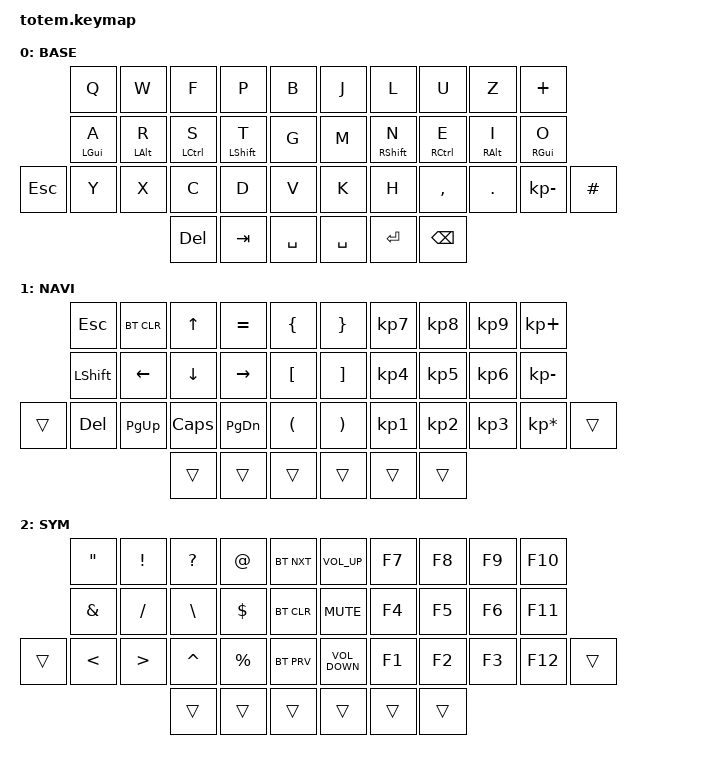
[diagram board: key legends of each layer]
//
//                                                        ▀▀▀▀▀     ▀▀▀▀▀          ▀▀█▀▀
//                                                        ▄▀▀▀▄  ▄  ▄▀▀▀▄  ▄  ▄▀▀▀▄  █  ▄▀▀▀▄
//                                                        █   █  █  █   █  █  █   █  █  █   █
//                                                         ▀▀▀   █   ▀▀▀   █   ▀▀▀   ▀   ▀▀▀
//                                                               █      ▄▄▄█▄▄▄    █   █  
//                                                               ▀      █  █  █     █▄█
//                                                             ▀▀▀▀▀    █  █  █      ▀
//                                                                      ▀  ▀  ▀
//
// ▄▄▄▄▄▄▄▄▄▄▄▄▄▄▄▄▄▄▄▄▄▄▄▄▄▄▄▄▄▄▄▄▄▄▄▄▄▄▄▄▄▄▄▄▄▄▄▄▄▄▄▄▄▄▄▄▄▄▄▄▄▄▄▄▄▄▄▄▄▄▄▄▄▄▄▄▄▄▄▄▄▄▄▄▄▄▄▄▄▄▄▄▄▄▄▄▄▄▄▄▄▄▄▄▄▄▄▄▄▄▄▄▄▄▄▄▄▄▄▄▄▄▄▄▄▄▄▄▄▄▄▄▄▄▄▄▄▄▄▄▄▄▄▄▄▄▄▄▄

#include <behaviors.dtsi>
#include <dt-bindings/zmk/bt.h>
#include <dt-bindings/zmk/keys.h>

#define BASE 0
#define NAV  1
#define SYM  2

&mt {
    quick-tap-ms = <150>;
    global-quick-tap;
    flavor = "tap-preferred";
    tapping-term-ms = <220>;
};

/ {
    combos {
        compatible = "zmk,combos";

        NAVLayer {
            bindings = <&lt 1 K_PASTE>;
            key-positions = <16 17 18>;
        };

        SYMLayer {
            bindings = <&lt 2 K_COPY>;
            key-positions = <13 12 11>;
        };

        BASELayer {
            bindings = <&lt 0 K_UNDO>;
            key-positions = <34 35>;
        };

        AltTab {
            bindings = <&kp LA(PAGE_UP)>;
            key-positions = <16 17>;
        };

        AltShiftTab {
            bindings = <&kp LS(LA(TAB))>;
            key-positions = <13 12>;
        };

        PageUp {
            bindings = <&kp PAGE_UP>;
            key-positions = <6 7>;
        };

        PageDown {
            bindings = <&kp PAGE_DOWN>;
            key-positions = <27 28>;
        };
    };

    keymap {
        compatible = "zmk,keymap";

        // ▄▄▄▄▄▄▄▄▄▄▄▄▄▄▄▄▄▄▄▄▄▄▄▄▄▄▄▄▄▄▄▄▄▄▄▄▄▄▄▄▄▄▄▄▄▄▄▄▄▄▄▄▄▄▄▄▄▄▄▄▄▄▄▄▄▄▄▄▄▄▄▄▄▄▄▄▄▄▄▄▄▄▄▄▄▄▄▄▄▄▄▄▄▄▄▄▄▄▄▄▄▄▄▄▄▄▄▄▄▄▄▄▄▄▄▄▄▄▄▄▄▄▄▄▄▄▄▄▄▄▄▄▄▄▄▄▄▄▄▄▄▄▄▄▄▄▄▄▄

        BASE {
            // ┏━━━━━━━━━━━━━━━━━━━━━━━━━━━━━━━━━━━━━━━┓

            label = "BASE";

            // ┗━━━━━━━━━━━━━━━━━━━━━━━━━━━━━━━━━━━━━━━┛
            //             ┏━━━━━━━━━━━┳━━━━━━━━━━━┳━━━━━━━━━━━┳━━━━━━━━━━━┳━━━━━━━━━━━┓   ┏━━━━━━━━━━━┳━━━━━━━━━━━┳━━━━━━━━━━━┳━━━━━━━━━━━┳━━━━━━━━━━━┓
            //             ┃     Q     ┃     W     ┃     E     ┃     R     ┃     T     ┃   ┃     Z     ┃     U     ┃     I     ┃     O     ┃     P     ┃
            //             ┣━━━━━━━━━━━╋━━━━━━━━━━━╋━━━━━━━━━━━╋━━━━━━━━━━━╋━━━━━━━━━━━┫   ┣━━━━━━━━━━━╋━━━━━━━━━━━╋━━━━━━━━━━━╋━━━━━━━━━━━╋━━━━━━━━━━━┫
            //             ┃     A     ┃     S     ┃     D     ┃     F     ┃     G     ┃   ┃     H     ┃     J     ┃     K     ┃     L     ┃     +     ┃
            // ┏━━━━━━━━━━━╋━━━━━━━━━━━╋━━━━━━━━━━━╋━━━━━━━━━━━╋━━━━━━━━━━━╋━━━━━━━━━━━┫   ┣━━━━━━━━━━━╋━━━━━━━━━━━╋━━━━━━━━━━━╋━━━━━━━━━━━╋━━━━━━━━━━━╋━━━━━━━━━━━┓
            // ┃    ESC    ┃     Y     ┃     X     ┃     C     ┃     V     ┃     B     ┃   ┃     N     ┃     M     ┃     ,     ┃     .     ┃     -     ┃     #     ┃
            // ┗━━━━━━━━━━━┻━━━━━━━━━━━┻━━━━━━━━━━━╋━━━━━━━━━━━╋━━━━━━━━━━━╋━━━━━━━━━━━┫   ┣━━━━━━━━━━━╋━━━━━━━━━━━╋━━━━━━━━━━━╋━━━━━━━━━━━┻━━━━━━━━━━━┻━━━━━━━━━━━┛
            //                                     ┃    DEL    ┃    TAB    ┃    SPC    ┃   ┃    SPC    ┃   ENTER   ┃   BSPC    ┃
            //                                     ┗━━━━━━━━━━━┻━━━━━━━━━━━┻━━━━━━━━━━━┛   ┗━━━━━━━━━━━┻━━━━━━━━━━━┻━━━━━━━━━━━┛

            bindings = <
         &kp Q       &kp W       &kp F        &kp P        &kp B        &kp J      &kp L        &kp U        &kp Z       &kp PLUS
         &mt LGUI A  &mt LALT R  &mt LCTRL S  &mt LSHFT T  &kp G        &kp M      &mt RSHFT N  &mt RCTRL E  &mt RALT I  &mt RGUI O
&kp ESC  &kp Y       &kp X       &kp C        &kp D        &kp V        &kp K      &kp H        &kp COMMA    &kp DOT     &kp KP_MINUS  &kp HASH
                                 &kp DEL      &kp TAB      &kp SPACE    &kp SPACE  &kp RET      &kp BSPC
            >;
        };

        // ▄▄▄▄▄▄▄▄▄▄▄▄▄▄▄▄▄▄▄▄▄▄▄▄▄▄▄▄▄▄▄▄▄▄▄▄▄▄▄▄▄▄▄▄▄▄▄▄▄▄▄▄▄▄▄▄▄▄▄▄▄▄▄▄▄▄▄▄▄▄▄▄▄▄▄▄▄▄▄▄▄▄▄▄▄▄▄▄▄▄▄▄▄▄▄▄▄▄▄▄▄▄▄▄▄▄▄▄▄▄▄▄▄▄▄▄▄▄▄▄▄▄▄▄▄▄▄▄▄▄▄▄▄▄▄▄▄▄▄▄▄▄▄▄▄▄▄▄▄

        NAV {
            // ┏━━━━━━━━━━━━━━━━━━━━━━━━━━━━━━━━━━━━━━━┓

            label = "NAVI";

            // ┗━━━━━━━━━━━━━━━━━━━━━━━━━━━━━━━━━━━━━━━┛
            //             ┏━━━━━━━━━━━┳━━━━━━━━━━━┳━━━━━━━━━━━┳━━━━━━━━━━━┳━━━━━━━━━━━┓   ┏━━━━━━━━━━━┳━━━━━━━━━━━┳━━━━━━━━━━━┳━━━━━━━━━━━┳━━━━━━━━━━━┓
            //             ┃           ┃           ┃     UP    ┃           ┃     {     ┃   ┃     }     ┃     7     ┃     8     ┃     9     ┃     +     ┃
            //             ┣━━━━━━━━━━━╋━━━━━━━━━━━╋━━━━━━━━━━━╋━━━━━━━━━━━╋━━━━━━━━━━━┫   ┣━━━━━━━━━━━╋━━━━━━━━━━━╋━━━━━━━━━━━╋━━━━━━━━━━━╋━━━━━━━━━━━┫
            //             ┃   SHIFT   ┃   LEFT    ┃    DOWN   ┃   RIGHT   ┃     [     ┃   ┃     ]     ┃     4     ┃     5     ┃     6     ┃     -     ┃
            // ┏━━━━━━━━━━━╋━━━━━━━━━━━╋━━━━━━━━━━━╋━━━━━━━━━━━╋━━━━━━━━━━━╋━━━━━━━━━━━┫   ┣━━━━━━━━━━━╋━━━━━━━━━━━╋━━━━━━━━━━━╋━━━━━━━━━━━╋━━━━━━━━━━━╋━━━━━━━━━━━┓
            // ┃           ┃           ┃   P UP    ┃  C LOCK   ┃  P DOWN   ┃     (     ┃   ┃     )     ┃     1     ┃     2     ┃     3     ┃     *     ┃           ┃
            // ┗━━━━━━━━━━━┻━━━━━━━━━━━┻━━━━━━━━━━━╋━━━━━━━━━━━╋━━━━━━━━━━━╋━━━━━━━━━━━┫   ┣━━━━━━━━━━━╋━━━━━━━━━━━╋━━━━━━━━━━━╋━━━━━━━━━━━┻━━━━━━━━━━━┻━━━━━━━━━━━┛
            //                                     ┃           ┃    TAB    ┃    SPC    ┃   ┃    DEL    ┃     0     ┃           ┃
            //                                     ┗━━━━━━━━━━━┻━━━━━━━━━━━┻━━━━━━━━━━━┛   ┗━━━━━━━━━━━┻━━━━━━━━━━━┻━━━━━━━━━━━┛

            bindings = <
        &kp ESC    &bt BT_CLR  &kp UP    &kp EQUAL  &kp LBRC    &kp RBRC  &kp KP_N7  &kp KP_N8  &kp KP_N9  &kp KP_PLUS
        &kp LSHFT  &kp LEFT    &kp DOWN  &kp RIGHT  &kp LBKT    &kp RBKT  &kp KP_N4  &kp KP_N5  &kp KP_N6  &kp KP_MINUS
&trans  &kp DEL    &kp PG_UP   &kp CAPS  &kp PG_DN  &kp LPAR    &kp RPAR  &kp KP_N1  &kp KP_N2  &kp KP_N3  &kp KP_MULTIPLY  &trans
                               &trans    &trans     &trans      &trans    &trans     &trans
            >;
        };

        // ▄▄▄▄▄▄▄▄▄▄▄▄▄▄▄▄▄▄▄▄▄▄▄▄▄▄▄▄▄▄▄▄▄▄▄▄▄▄▄▄▄▄▄▄▄▄▄▄▄▄▄▄▄▄▄▄▄▄▄▄▄▄▄▄▄▄▄▄▄▄▄▄▄▄▄▄▄▄▄▄▄▄▄▄▄▄▄▄▄▄▄▄▄▄▄▄▄▄▄▄▄▄▄▄▄▄▄▄▄▄▄▄▄▄▄▄▄▄▄▄▄▄▄▄▄▄▄▄▄▄▄▄▄▄▄▄▄▄▄▄▄▄▄▄▄▄▄▄▄
        // ▄▄▄▄▄▄▄▄▄▄▄▄▄▄▄▄▄▄▄▄▄▄▄▄▄▄▄▄▄▄▄▄▄▄▄▄▄▄▄▄▄▄▄▄▄▄▄▄▄▄▄▄▄▄▄▄▄▄▄▄▄▄▄▄▄▄▄▄▄▄▄▄▄▄▄▄▄▄▄▄▄▄▄▄▄▄▄▄▄▄▄▄▄▄▄▄▄▄▄▄▄▄▄▄▄▄▄▄▄▄▄▄▄▄▄▄▄▄▄▄▄▄▄▄▄▄▄▄▄▄▄▄▄▄▄▄▄▄▄▄▄▄▄▄▄▄▄▄▄
        // ▄▄▄▄▄▄▄▄▄▄▄▄▄▄▄▄▄▄▄▄▄▄▄▄▄▄▄▄▄▄▄▄▄▄▄▄▄▄▄▄▄▄▄▄▄▄▄▄▄▄▄▄▄▄▄▄▄▄▄▄▄▄▄▄▄▄▄▄▄▄▄▄▄▄▄▄▄▄▄▄▄▄▄▄▄▄▄▄▄▄▄▄▄▄▄▄▄▄▄▄▄▄▄▄▄▄▄▄▄▄▄▄▄▄▄▄▄▄▄▄▄▄▄▄▄▄▄▄▄▄▄▄▄▄▄▄▄▄▄▄▄▄▄▄▄▄▄▄▄
        // ▄▄▄▄▄▄▄▄▄▄▄▄▄▄▄▄▄▄▄▄▄▄▄▄▄▄▄▄▄▄▄▄▄▄▄▄▄▄▄▄▄▄▄▄▄▄▄▄▄▄▄▄▄▄▄▄▄▄▄▄▄▄▄▄▄▄▄▄▄▄▄▄▄▄▄▄▄▄▄▄▄▄▄▄▄▄▄▄▄▄▄▄▄▄▄▄▄▄▄▄▄▄▄▄▄▄▄▄▄▄▄▄▄▄▄▄▄▄▄▄▄▄▄▄▄▄▄▄▄▄▄▄▄▄▄▄▄▄▄▄▄▄▄▄▄▄▄▄▄

        SYM {
            bindings = <
        &kp DOUBLE_QUOTES  &kp EXCLAMATION   &kp QUESTION  &kp AT_SIGN  &bt BT_NXT    &kp C_VOLUME_UP    &kp F7  &kp F8  &kp F9  &kp F10
        &kp AMPERSAND      &kp SLASH         &kp BSLH      &kp DOLLAR   &bt BT_CLR    &kp K_MUTE         &kp F4  &kp F5  &kp F6  &kp F11
&trans  &kp LESS_THAN      &kp GREATER_THAN  &kp CARET     &kp PERCENT  &bt BT_PRV    &kp C_VOLUME_DOWN  &kp F1  &kp F2  &kp F3  &kp F12  &trans
                                             &trans        &trans       &trans        &trans             &trans  &trans
            >;
        };
    };
};
